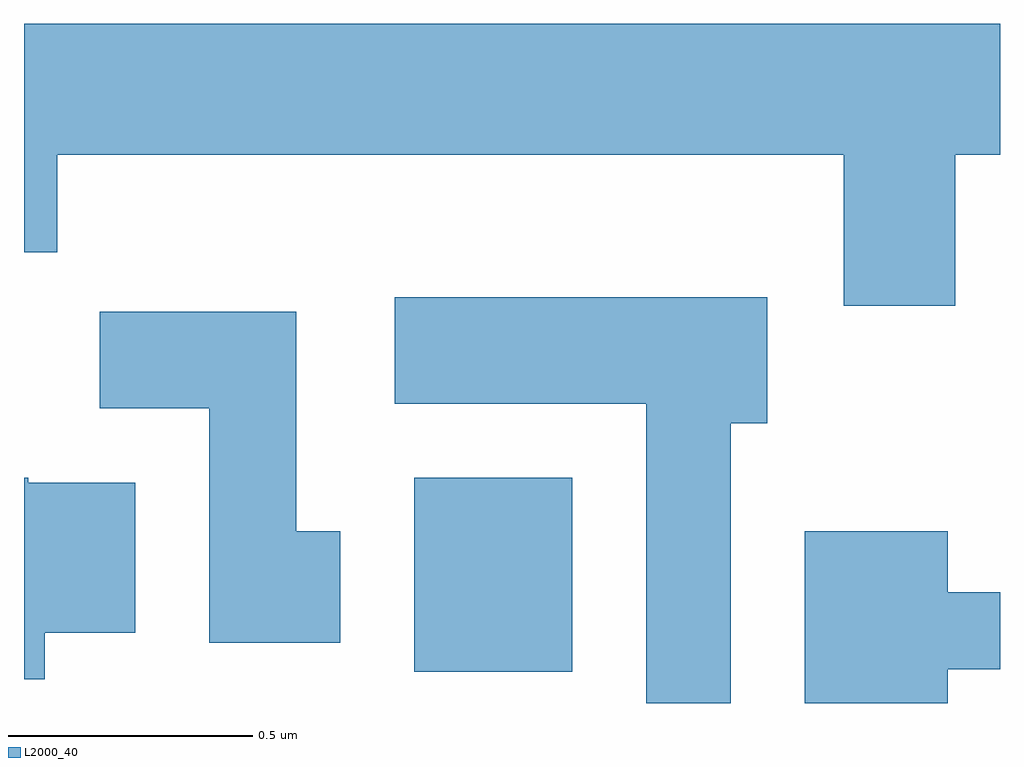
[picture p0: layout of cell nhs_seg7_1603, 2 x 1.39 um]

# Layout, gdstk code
import gdstk
lib = gdstk.Library(unit=1e-6, precision=1e-09)
def R(c, l, rs):  # rectangles x0, y0, x1, y1
    for r in rs: c.add(gdstk.rectangle(r[:2], r[2:], *l))
def P(c, l, *ps):  # polygons
    for p in ps: c.add(gdstk.Polygon(p, *l))
L2000_40 = (2000, 40)

nhs_seg7_1603 = lib.new_cell('nhs_seg7_1603')
R(nhs_seg7_1603, L2000_40, [(197.411,1764.316,197.734,1764.714)])
P(nhs_seg7_1603, L2000_40, [(198.519,1765.376),(198.611,1765.376),(198.611,1765.644),(196.611,1765.644),(196.611,1765.176),(196.679,1765.176),(196.679,1765.376),(198.291,1765.376),(198.291,1765.066),(198.519,1765.066)],
  [(198.059,1764.826),(198.134,1764.826),(198.134,1765.084),(197.371,1765.084),(197.371,1764.866),(197.886,1764.866),(197.886,1764.252),(198.059,1764.252)],
  [(197.259,1764.604),(197.169,1764.604),(197.169,1765.054),(196.766,1765.054),(196.766,1764.856),(196.991,1764.856),(196.991,1764.376),(197.259,1764.376)],
  [(196.654,1764.396),(196.839,1764.396),(196.839,1764.704),(196.62,1764.704),(196.62,1764.714),(196.611,1764.714),(196.611,1764.301),(196.654,1764.301)],
  [(198.504,1764.321),(198.611,1764.321),(198.611,1764.479),(198.504,1764.479),(198.504,1764.604),(198.211,1764.604),(198.211,1764.252),(198.504,1764.252)])

lib.write_gds('nhs_seg7_1603.gds')
